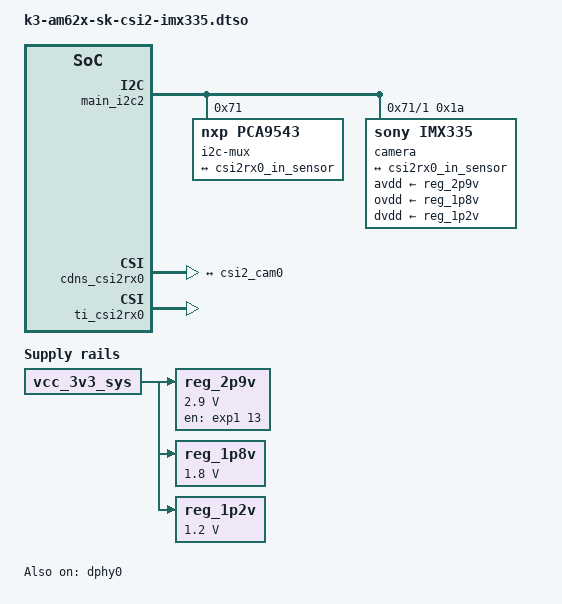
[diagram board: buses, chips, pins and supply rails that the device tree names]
// SPDX-License-Identifier: GPL-2.0-only OR MIT
/*
 * Arducam IMX335 Camera Module
 * Copyright (C) 2025 Ideas on Board Oy
 */

/dts-v1/;
/plugin/;

#include <dt-bindings/gpio/gpio.h>

&{/} {
	clk_imx335_fixed: imx335-xclk {
		compatible = "fixed-clock";
		#clock-cells = <0>;
		clock-frequency = <24000000>;
	};

	reg_2p9v: regulator-2p9v {
		compatible = "regulator-fixed";
		regulator-name = "2P9V";
		regulator-min-microvolt = <2900000>;
		regulator-max-microvolt = <2900000>;
		vin-supply = <&vcc_3v3_sys>;
		enable-active-high;
		gpios = <&exp1 13 GPIO_ACTIVE_HIGH>;
	};

	reg_1p8v: regulator-1p8v {
		compatible = "regulator-fixed";
		regulator-name = "1P8V";
		regulator-min-microvolt = <1800000>;
		regulator-max-microvolt = <1800000>;
		vin-supply = <&vcc_3v3_sys>;
		regulator-always-on;
	};

	reg_1p2v: regulator-1p2v {
		compatible = "regulator-fixed";
		regulator-name = "1P2V";
		regulator-min-microvolt = <1200000>;
		regulator-max-microvolt = <1200000>;
		vin-supply = <&vcc_3v3_sys>;
		regulator-always-on;

	};
};

&main_i2c2 {
	#address-cells = <1>;
	#size-cells = <0>;
	status = "okay";

	i2c-mux@71 {
		compatible = "nxp,pca9543";
		#address-cells = <1>;
		#size-cells = <0>;
		reg = <0x71>;

		/* CAM port */
		i2c@1 {
			#address-cells = <1>;
			#size-cells = <0>;
			reg = <1>;

			camera@1a {
				compatible = "sony,imx335";
				reg = <0x1a>;

				clocks = <&clk_imx335_fixed>;

				avdd-supply = <&reg_2p9v>;
				ovdd-supply = <&reg_1p8v>;
				dvdd-supply = <&reg_1p2v>;

				rotation = <180>;
				orientation = <2>;

				port {
					csi2_cam0: endpoint {
						remote-endpoint = <&csi2rx0_in_sensor>;
						link-frequencies = /bits/ 64 <594000000 445500000>;
						clock-lanes = <0>;
						data-lanes = <1 2 3 4>;
					};
				};
			};
		};
	};
};

&cdns_csi2rx0 {
	ports {
		#address-cells = <1>;
		#size-cells = <0>;

		csi0_port0: port@0 {
			reg = <0>;
			status = "okay";

			csi2rx0_in_sensor: endpoint {
				remote-endpoint = <&csi2_cam0>;
				bus-type = <4>; /* CSI2 DPHY. */
				clock-lanes = <0>;
				data-lanes = <1 2 3 4>;
			};
		};
	};
};

&ti_csi2rx0 {
	status = "okay";
};

&dphy0 {
	status = "okay";
};
